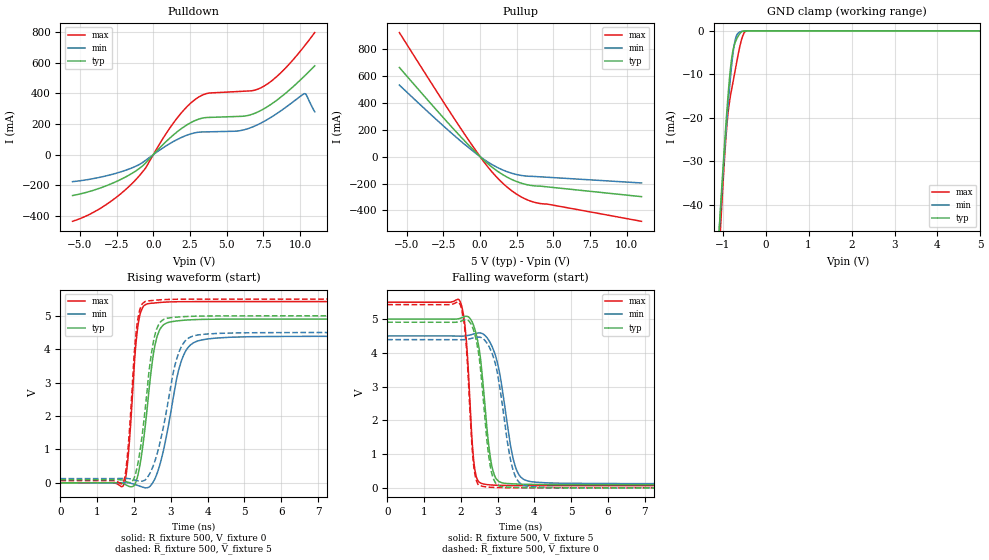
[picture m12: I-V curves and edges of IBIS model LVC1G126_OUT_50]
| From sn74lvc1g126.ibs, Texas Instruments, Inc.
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[Model]   LVC1G126_OUT_50
Model_type  3-state
Enable   Active-Low
Vref =   0
Rref =   500
Cref =   50p
Vmeas =   2.5
| variable   typ   min   max
C_comp   5.45pF   4.61pF   6.85pF
| C_pullup   10.39pF   5.41pF   14.01pF
| C_pulldown   8.44pF   6.23pF   12.28pF
| C_tri-state   5.45pF   4.61pF   6.85pF
[Temperature Range]   40   100   -40
| Ambient temperature   25   85   -40
[Voltage range]   5   4.5   5.5
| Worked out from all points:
|   slope of the pulldown table from 0 to 0.75 V, typ, clamps not added: 10.1 ohm
|   slope of the pullup table from 0 to 0.75 V, typ, clamps not added: 10.3 ohm
|   GND clamp passes 1 mA (typ) near -0.62 V on its own axis
|   rising waveform, R_fixture 500, V_fixture 0: 20-80 % time 313ps typ, 467ps min, 204ps max; typ from 0 V to 4.9 V
|   falling waveform, R_fixture 500, V_fixture 5: 20-80 % time 269ps typ, 384ps min, 177ps max; typ from 5 V to 0.095 V
|   rising waveform, R_fixture 500, V_fixture 5: 20-80 % time 316ps typ, 478ps min, 202ps max; typ from 0.095 V to 5 V
|   falling waveform, R_fixture 500, V_fixture 0: 20-80 % time 263ps typ, 369ps min, 176ps max; typ from 4.91 V to 0 V
[GND Clamp]
| LVC1G126_OUT_50
|   Voltage   I(typ)   I(min)   I(max)
-5.5V     -902.1mA   -833.8mA   -1.025A
-1.09V    -47.14mA   -47.23mA   -52.73mA
-1.06V    -42.25mA   -42.74mA   -47.19mA
-1.045V   -39.84mA   -40.53mA   -44.47mA
-915mV    -20.2mA    -22.32mA   -23.38mA
-870mV    -14.29mA   -16.61mA   -18.49mA
-815mV    -8.349mA   -10.33mA   -14.76mA
-720mV    -3.012mA   -2.659mA   -9.707mA
-610mV    -778.6uA   -297.4uA   -4.021mA
-515mV    -27uA      -94.55uA   -756.2uA
-425mV    -2.072uA   -34.97uA   -6.129uA
5V        14.55pA    115.1nA    438.5pA
[Pulldown]
| LVC1G126_OUT_50
|   Voltage   I(typ)   I(min)   I(max)
-5.5V     -266mA     -175.6mA   -433.8mA
-3.43V    -210.8mA   -143mA     -339mA
-1.43V    -120.5mA   -85.21mA   -186.4mA
-535mV    -55.67mA   -37.51mA   -88.29mA
1.45V     134.8mA    89.63mA    216.4mA
2.79V     219.7mA    141.2mA    354.8mA
3.725V    242.3mA    148.6mA    399.8mA
5.875V    249.3mA    155.7mA    411.6mA
7.48V     295.5mA    213mA      442.7mA
8.755V    379.6mA    289.7mA    539.2mA
10.29V    511.3mA    397.2mA    706.5mA
11V       578.4mA    279.2mA    795mA
[Pullup]
| LVC1G126_OUT_50
|   Voltage   I(typ)   I(min)   I(max)
-5.5V     663.5mA    532.5mA    923.3mA
-2.195V   252.3mA    198.7mA    355.8mA
-35mV     3.764mA    2.886mA    5.406mA
485mV     -48.76mA   -37mA      -70.67mA
1.01V     -94.65mA   -71mA      -138.3mA
1.53V     -133mA     -98.49mA   -196.1mA
2.05V     -164.4mA   -119.8mA   -245mA
2.925V    -201.3mA   -141.8mA   -306.6mA
3.8V      -218.3mA   -148.3mA   -342.6mA
4.57V     -225mA     -153.4mA   -353.2mA
11V       -297.9mA   -196.1mA   -481.3mA
[Ramp]
| LVC1G126_OUT_50
| variable   typ   min   max
dV/dt_r   3.02/3.25E-10   2.72/4.88E-10   3.33/2.12E-10
dV/dt_f   2.99/2.78E-10   2.68/4.05E-10   3.32/1.88E-10
R_load = 500
[Rising Waveform]
| LVC1G126_OUT_50
R_fixture =   500
C_fixture =   0
L_fixture =   0
V_fixture =   0
V_fixture_min = 0
V_fixture_max = 0
|   Time   V(typ)   V(min)   V(max)
0s        190.8pV    4.941nV    533.5pV
1.725ns   -33.46mV   5.494mV    -56.06mV
1.845ns   -100.2mV   189.6uV    840.5mV
2.025ns   -44.6mV    -51.87mV   3.813V
2.11ns    254.7mV    -83.4mV    4.729V
2.465ns   3.348V     -67.51mV   5.377V
2.72ns    4.626V     611.7mV    5.401V
3.345ns   4.867V     3.815V     5.424V
4.215ns   4.899V     4.332V     5.426V
50ns      4.904V     4.386V     5.427V
[Falling Waveform]
| LVC1G126_OUT_50
R_fixture =   500
C_fixture =   0
L_fixture =   0
V_fixture =   5
V_fixture_min = 4.5
V_fixture_max = 5.5
|   Time   V(typ)   V(min)   V(max)
0s        5V         4.5V       5.5V
1.975ns   5.02V      4.496V     5.534V
2.135ns   5.083V     4.505V     4.548V
2.38ns    4.701V     4.569V     547.2mV
2.53ns    3.865V     4.589V     147.8mV
2.765ns   1.205V     4.362V     91.06mV
2.96ns    269.9mV    3.852V     78.2mV
3.485ns   116.1mV    617.9mV    67.82mV
4.025ns   100.5mV    168.6mV    65.74mV
50ns      94.64mV    125.7mV    65.03mV
[Rising Waveform]
| LVC1G126_OUT_50
R_fixture =   500
C_fixture =   0
L_fixture =   0
V_fixture =   5
V_fixture_min = 4.5
V_fixture_max = 5.5
|   Time   V(typ)   V(min)   V(max)
0s        94.63mV    125.7mV    65.03mV
1.705ns   71.77mV    130.5mV    10.64mV
1.83ns    16.82mV    128.1mV    934.4mV
2.005ns   150.4mV    86.28mV    3.85V
2.09ns    499mV      63.61mV    4.802V
2.395ns   3.212V     213.5mV    5.449V
2.67ns    4.738V     1.042V     5.476V
3.23ns    4.967V     3.936V     5.497V
3.925ns   4.994V     4.451V     5.5V
50ns      5V         4.5V       5.5V
[Falling Waveform]
| LVC1G126_OUT_50
R_fixture =   500
C_fixture =   0
L_fixture =   0
V_fixture =   0
V_fixture_min = 0
V_fixture_max = 0
|   Time   V(typ)   V(min)   V(max)
0s        4.907V     4.391V     5.429V
1.97ns    4.925V     4.387V     5.455V
2.12ns    4.981V     4.394V     4.564V
2.375ns   4.565V     4.451V     457.4mV
2.51ns    3.767V     4.464V     72.39mV
2.705ns   1.439V     4.298V     26.1mV
2.93ns    168mV      3.709V     11.26mV
3.425ns   16.91mV    507.7mV    2.505mV
3.92ns    4.896mV    35.13mV    689.5uV
50ns      10.53uV    18.02uV    5.934uV
